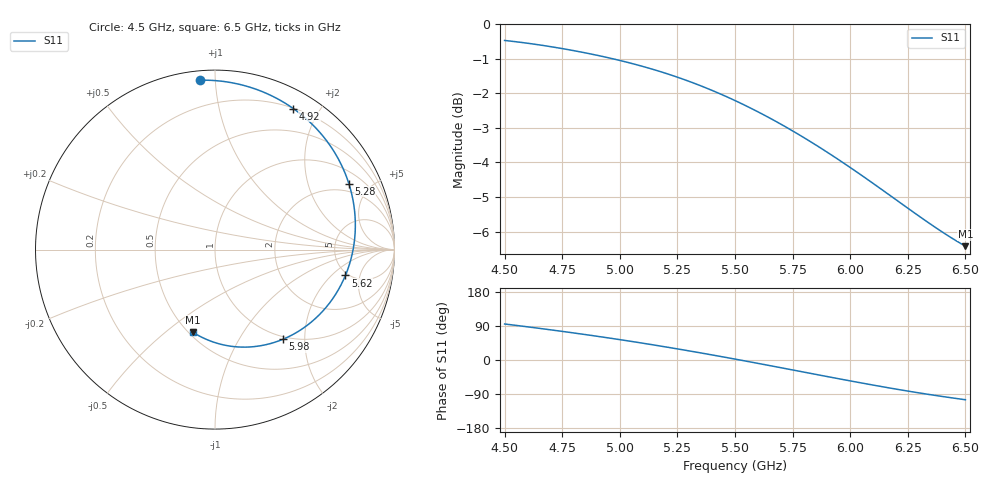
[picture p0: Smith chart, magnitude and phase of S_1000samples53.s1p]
! TOUCHSTONE file generated by CST MICROWAVE STUDIO
! Date and time: Wed Oct 26 20:12:30 2022
! Project name: L.cst
! Parameters = {Di=1.27; Epsilon_r=1.56; InnerDiameter=1.27; Length=2; Lf=10; Lg=60; OuterConductorThickness=0.2921; OuterDiameter=3.6; Wf=3; Wp=41.2; de=1.5; df=6.8; g=0.8; gx=3.56714; gy=4.37661; h=2.34; hf=1.524; px=12.8804; py=11.7025; w=9.7; wx=9.31325; wy=7.32585}
! Header version: 2018
! Port assignment regex: !\s*Touchstone port\s*([0-9]+)\s*=\s*(CST MWS port|CST DS port)\s*([0-9]+|Zmin|Zmax)\s*\(\"(.*)\"\)(\s*mode\s*([0-9]+))?.*
! Touchstone port assignment:
! Touchstone port 1 = CST MWS port 1 ("")
# GHz S DB R 50
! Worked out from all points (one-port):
!   101 points, 4.5 GHz to 6.5 GHz, reference 50 ohm
!   lowest |S11| = -6.4 dB at 6.5 GHz (marker M1), VSWR 2.83, Z = 26.2 - j31.3 ohm
!   |S11| at or under -10 dB: nowhere
!   S11 on the Smith chart (normalised r, x): 4.5 GHz: 0.05, +0.91; 4.92 GHz: 0.21, +1.68; 5.28 GHz: 1.55, +3.68; 5.62 GHz: 4.72, -3.02; 5.98 GHz: 0.96, -1.57; 6.5 GHz: 0.52, -0.63
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4.5  -0.47 95.0
4.58  -0.53 89.0
4.64  -0.59 84.4
4.76  -0.72 74.7
4.84  -0.82 68.0
4.92  -0.93 61.0
5  -1.05 53.7
5.06  -1.15 48.1
5.14  -1.30 40.4
5.26  -1.56 28.3
5.28  -1.60 26.2
5.34  -1.75 19.9
5.4  -1.91 13.4
5.5  -2.21 2.4
5.56  -2.40 -4.4
5.62  -2.61 -11.2
5.68  -2.82 -18.1
5.76  -3.13 -27.4
5.82  -3.37 -34.4
5.88  -3.62 -41.4
5.98  -4.06 -52.8
6  -4.15 -55.1
6.06  -4.42 -61.8
6.12  -4.70 -68.4
6.18  -4.99 -74.8
6.26  -5.37 -83.0
6.38  -5.93 -94.4
6.5  -6.42 -104.8
